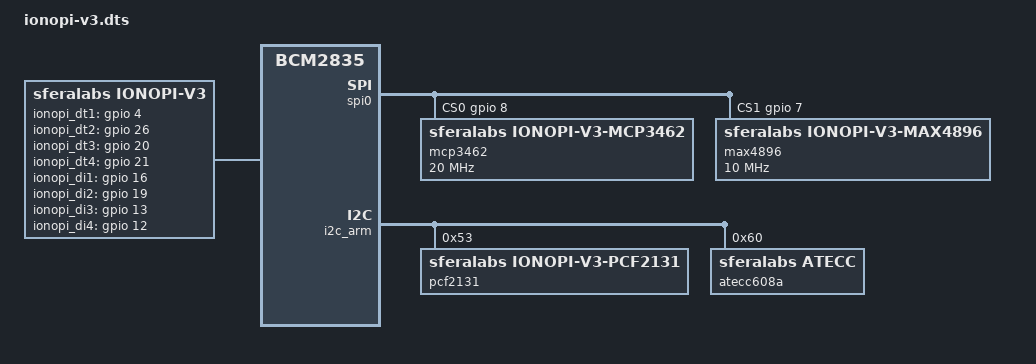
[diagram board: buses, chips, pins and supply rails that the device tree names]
/dts-v1/;
/plugin/;

/ {
    compatible = "brcm,bcm2835";

    fragment@0 {
        target-path = "/";
        __overlay__ {
            ionopi: ionopi {
                compatible = "sferalabs,ionopi-v3";
                pinctrl-names = "default";
                pinctrl-0 = <&ionopi_pins>;
                status = "okay";

                ionopi_dt1-gpios = <&gpio 4 0>;
                ionopi_dt2-gpios = <&gpio 26 0>;
                ionopi_dt3-gpios = <&gpio 20 0>;
                ionopi_dt4-gpios = <&gpio 21 0>;
                ionopi_di1-gpios = <&gpio 16 0>;
                ionopi_di2-gpios = <&gpio 19 0>;
                ionopi_di3-gpios = <&gpio 13 0>;
                ionopi_di4-gpios = <&gpio 12 0>;
                ionopi_di5-gpios = <&gpio 6 0>;
                ionopi_di6-gpios = <&gpio 5 0>;
                ionopi_led-gpios = <&gpio 23 0>;
                ionopi_do_reset-gpios = <&gpio 17 0>;
                ionopi_do_flag-gpios = <&gpio 18 0>;
                ionopi_do_pdcd-gpios = <&gpio 27 0>;
                ionopi_do_spld-gpios = <&gpio 22 0>;
                ionopi_v5of-gpios = <&gpio 24 0>;
            };
        };
    };

    fragment@1 {
        target = <&gpio>;
        __overlay__ {
            ionopi_pins: ionopi_pins {
                brcm,pins = <16 19 13 12 6 5>;
                brcm,function = <0>; /* in */
                brcm,pull = <0>; /* no pull */
            };
        };
    };

    fragment@2 {
        target = <&spidev0>;
        __overlay__ {
            status = "disabled";
        };
    };

    fragment@3 {
        target = <&spidev1>;
        __overlay__ {
            status = "disabled";
        };
    };

    fragment@4 {
        target = <&spi0>;
        __overlay__ {
            #address-cells = <1>;
            #size-cells = <0>;
            num-chipselects = <2>;
            cs-gpios = <&gpio 8 0 &gpio 7 0>;
            status = "okay";

            mcp3462: mcp3462@0 {
                compatible = "sferalabs,ionopi-v3-mcp3462";
                reg = <0>;
                spi-max-frequency = <20000000>;
            };

            max4896: max4896@1 {
                compatible = "sferalabs,ionopi-v3-max4896";
                reg = <1>;
                spi-max-frequency = <10000000>;
            };
        };
    };

    fragment@5 {
        target = <&i2c_arm>;
        __overlay__ {
            #address-cells = <1>;
            #size-cells = <0>;
            status = "okay";

            pcf2131: pcf2131@53 {
                compatible = "sferalabs,ionopi-v3-pcf2131";
                reg = <0x53>;
                reset-source;
                status = "okay";
            };

            atecc608a: atecc608a@60 {
                compatible = "sferalabs,atecc";
                reg = <0x60>;
                status = "okay";
            };
        };
    };
};
